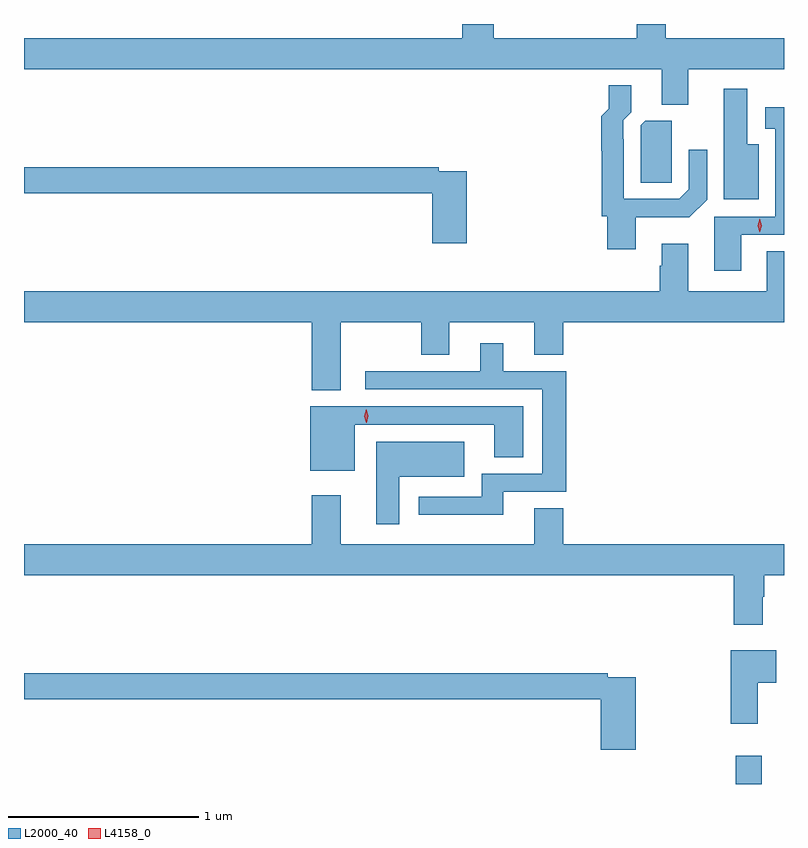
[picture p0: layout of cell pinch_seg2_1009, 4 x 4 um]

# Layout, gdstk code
import gdstk
lib = gdstk.Library(unit=1e-6, precision=1e-09)
def R(c, l, rs):  # rectangles x0, y0, x1, y1
    for r in rs: c.add(gdstk.rectangle(r[:2], r[2:], *l))
def P(c, l, *ps):  # polygons
    for p in ps: c.add(gdstk.Polygon(p, *l))
L2000_40 = (2000, 40)
L4158_0 = (4158, 0)

pinch_seg2_1009 = lib.new_cell('pinch_seg2_1009')
R(pinch_seg2_1009, L2000_40, [(256.396,599.918,256.532,600.067)])
P(pinch_seg2_1009, L2000_40, [(256.147,603.68),(256.65,603.68),(256.65,603.844),(256.027,603.844),(256.027,603.918),(255.875,603.918),(255.875,603.844),(255.122,603.844),(255.122,603.918),(254.957,603.918),(254.957,603.844),(252.65,603.844),(252.65,603.68),(256.007,603.68),(256.007,603.493),(256.147,603.493)],
  [(255.871,602.9),(256.151,602.9),(256.245,602.994),(256.245,603.256),(256.149,603.256),(256.149,603.048),(256.098,602.997),(255.807,602.997),(255.807,603.311),(255.804,603.311),(255.804,603.411),(255.847,603.454),(255.847,603.595),(255.727,603.595),(255.727,603.471),(255.689,603.432),(255.689,603.25),(255.691,603.25),(255.691,602.907),(255.719,602.907),(255.719,602.733),(255.871,602.733)],
  [(256.516,603.286),(256.456,603.286),(256.456,603.577),(256.334,603.577),(256.334,602.996),(256.516,602.996)],
  [(256.426,602.808),(256.65,602.808),(256.65,603.481),(256.551,603.481),(256.551,603.368),(256.604,603.368),(256.604,602.904),(256.283,602.904),(256.283,602.619),(256.426,602.619)],
  [(256.059,603.193),(256.06,603.193),(256.06,603.408),(255.921,603.408),(255.897,603.384),(255.897,603.082),(256.059,603.082)],
  [(254.981,603.144),(254.834,603.144),(254.834,603.164),(252.65,603.164),(252.65,603.028),(254.798,603.028),(254.798,602.763),(254.981,602.763)],
  [(254.317,602.348),(254.74,602.348),(254.74,602.176),(254.887,602.176),(254.887,602.348),(255.335,602.348),(255.335,602.176),(255.488,602.176),(255.488,602.348),(256.65,602.348),(256.65,602.723),(256.559,602.723),(256.559,602.512),(256.147,602.512),(256.147,602.761),(256.007,602.761),(256.007,602.645),(255.995,602.645),(255.995,602.512),(252.65,602.512),(252.65,602.348),(254.165,602.348),(254.165,601.991),(254.317,601.991)],
  [(255.172,601.455),(255.503,601.455),(255.503,602.091),(255.172,602.091),(255.172,602.239),(255.05,602.239),(255.05,602.091),(254.445,602.091),(254.445,601.995),(255.377,601.995),(255.377,601.551),(255.059,601.551),(255.059,601.431),(254.727,601.431),(254.727,601.334),(255.172,601.334)],
  [(254.392,601.809),(255.125,601.809),(255.125,601.638),(255.277,601.638),(255.277,601.905),(254.156,601.905),(254.156,601.568),(254.392,601.568)],
  [(254.626,601.535),(254.968,601.535),(254.968,601.72),(254.504,601.72),(254.504,601.284),(254.626,601.284)],
  [(256.537,600.904),(256.545,600.904),(256.545,601.016),(256.65,601.016),(256.65,601.18),(255.488,601.18),(255.488,601.37),(255.335,601.37),(255.335,601.18),(254.317,601.18),(254.317,601.438),(254.165,601.438),(254.165,601.18),(252.65,601.18),(252.65,601.016),(256.385,601.016),(256.385,600.756),(256.537,600.756)],
  [(256.512,600.452),(256.609,600.452),(256.609,600.622),(256.37,600.622),(256.37,600.234),(256.512,600.234)],
  [(255.869,600.48),(255.722,600.48),(255.722,600.5),(252.65,600.5),(252.65,600.364),(255.686,600.364),(255.686,600.099),(255.869,600.099)])
P(pinch_seg2_1009, L4158_0, [(256.523,602.821),(256.523,602.821),(256.513,602.857),(256.523,602.893),(256.523,602.893),(256.523,602.893),(256.533,602.857),(256.523,602.821)],
  [(254.452,601.819),(254.441,601.854),(254.45,601.89),(254.45,601.891),(254.45,601.89),(254.461,601.855),(254.453,601.819),(254.453,601.819)])

lib.write_gds('pinch_seg2_1009.gds')
